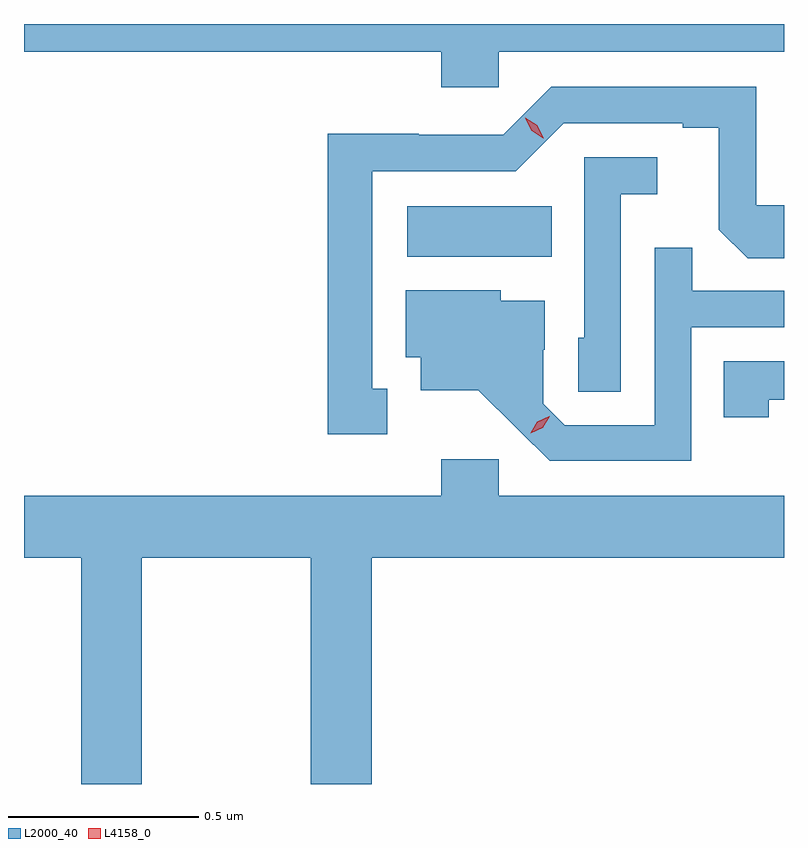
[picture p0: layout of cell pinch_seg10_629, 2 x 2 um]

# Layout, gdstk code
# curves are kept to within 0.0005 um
import gdstk
lib = gdstk.Library(unit=1e-6, precision=1e-09)
def R(c, l, rs):  # rectangles x0, y0, x1, y1
    for r in rs: c.add(gdstk.rectangle(r[:2], r[2:], *l))
def P(c, l, *ps):  # polygons
    for p in ps: c.add(gdstk.Polygon(p, *l))
L2000_40 = (2000, 40)
L4158_0 = (4158, 0)

pinch_seg10_629 = lib.new_cell('pinch_seg10_629')
R(pinch_seg10_629, L2000_40, [(292.332,1279.796,292.712,1279.93)])
P(pinch_seg10_629, L2000_40, [(292.572,1280.336),(293.323,1280.336),(293.323,1280.409),(291.323,1280.409),(291.323,1280.336),(292.421,1280.336),(292.421,1280.243),(292.572,1280.243)],
  [(292.279,1279.449),(292.24,1279.449),(292.24,1280.022),(292.617,1280.022),(292.743,1280.148),(293.057,1280.148),(293.057,1280.136),(293.151,1280.136),(293.151,1279.868),(293.227,1279.792),(293.323,1279.792),(293.323,1279.932),(293.25,1279.932),(293.25,1280.244),(292.71,1280.244),(292.584,1280.118),(292.362,1280.118),(292.362,1280.12),(292.122,1280.12),(292.122,1279.329),(292.279,1279.329)],
  [(292.893,1279.961),(292.99,1279.961),(292.99,1280.058),(292.797,1280.058),(292.797,1279.584),(292.782,1279.584),(292.782,1279.441),(292.893,1279.441)],
  [(293.079,1279.611),(293.323,1279.611),(293.323,1279.707),(293.081,1279.707),(293.081,1279.82),(292.983,1279.82),(292.983,1279.353),(292.746,1279.353),(292.689,1279.41),(292.689,1279.552),(292.693,1279.552),(292.693,1279.681),(292.578,1279.681),(292.578,1279.708),(292.328,1279.708),(292.328,1279.532),(292.367,1279.532),(292.367,1279.445),(292.519,1279.445),(292.706,1279.26),(293.079,1279.26)],
  [(293.283,1279.42),(293.323,1279.42),(293.323,1279.521),(293.164,1279.521),(293.164,1279.374),(293.283,1279.374)],
  [(291.633,1279.004),(292.078,1279.004),(292.078,1278.409),(292.238,1278.409),(292.238,1279.004),(293.323,1279.004),(293.323,1279.168),(292.572,1279.168),(292.572,1279.264),(292.421,1279.264),(292.421,1279.168),(291.323,1279.168),(291.323,1279.004),(291.473,1279.004),(291.473,1278.409),(291.633,1278.409)])
P(pinch_seg10_629, L4158_0, [(292.656,1279.332),(292.656,1279.333),(292.674,1279.362),(292.705,1279.377),(292.706,1279.377),(292.706,1279.377),(292.688,1279.347),(292.657,1279.332)],
  [(292.69,1280.109),(292.659,1280.128),(292.642,1280.161),(292.642,1280.162),(292.642,1280.162),(292.674,1280.142),(292.691,1280.109),(292.691,1280.109)])

lib.write_gds('pinch_seg10_629.gds')
